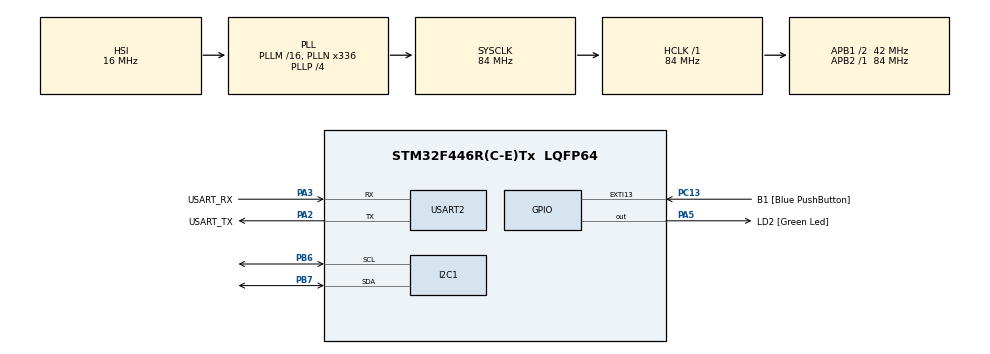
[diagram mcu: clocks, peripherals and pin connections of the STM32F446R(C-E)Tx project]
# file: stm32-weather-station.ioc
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Dma.I2C1_RX.0.Direction=DMA_PERIPH_TO_MEMORY
Dma.I2C1_RX.0.FIFOMode=DMA_FIFOMODE_DISABLE
Dma.I2C1_RX.0.Instance=DMA1_Stream0
Dma.I2C1_RX.0.MemDataAlignment=DMA_MDATAALIGN_BYTE
Dma.I2C1_RX.0.MemInc=DMA_MINC_ENABLE
Dma.I2C1_RX.0.Mode=DMA_NORMAL
Dma.I2C1_RX.0.PeriphDataAlignment=DMA_PDATAALIGN_BYTE
Dma.I2C1_RX.0.PeriphInc=DMA_PINC_DISABLE
Dma.I2C1_RX.0.Priority=DMA_PRIORITY_MEDIUM
Dma.I2C1_TX.1.Direction=DMA_MEMORY_TO_PERIPH
Dma.I2C1_TX.1.FIFOMode=DMA_FIFOMODE_DISABLE
Dma.I2C1_TX.1.Instance=DMA1_Stream6
Dma.I2C1_TX.1.MemDataAlignment=DMA_MDATAALIGN_BYTE
Dma.I2C1_TX.1.MemInc=DMA_MINC_ENABLE
Dma.I2C1_TX.1.Mode=DMA_NORMAL
Dma.I2C1_TX.1.PeriphDataAlignment=DMA_PDATAALIGN_BYTE
Dma.I2C1_TX.1.PeriphInc=DMA_PINC_DISABLE
Dma.I2C1_TX.1.Priority=DMA_PRIORITY_MEDIUM
Dma.Request0=I2C1_RX
Dma.Request1=I2C1_TX
I2C1.I2C_Mode=I2C_Fast
Mcu.Family=STM32F4
Mcu.Name=STM32F446R(C-E)Tx
Mcu.Package=LQFP64
NVIC.DMA1_Stream0_IRQn=true\:0\:0\:false\:false\:true\:false\:true\:true
NVIC.DMA1_Stream6_IRQn=true\:0\:0\:false\:false\:true\:false\:true\:true
NVIC.I2C1_ER_IRQn=true\:0\:0\:false\:false\:true\:true\:true\:true
NVIC.I2C1_EV_IRQn=true\:0\:0\:false\:false\:true\:true\:true\:true
NVIC.PriorityGroup=NVIC_PRIORITYGROUP_0
NVIC.TIM3_IRQn=true\:0\:0\:false\:false\:true\:true\:true\:true
NVIC.USART2_IRQn=true\:0\:0\:false\:false\:true\:true\:true\:true
PA13.GPIO_Label=TMS
PA13.Mode=Serial_Wire
PA13.Signal=SYS_JTMS-SWDIO
PA14.GPIO_Label=TCK
PA14.Mode=Serial_Wire
PA14.Signal=SYS_JTCK-SWCLK
PA2.GPIO_Label=USART_TX
PA2.Mode=Asynchronous
PA2.Signal=USART2_TX
PA3.GPIO_Label=USART_RX
PA3.Mode=Asynchronous
PA3.Signal=USART2_RX
PA5.GPIO_Label=LD2 [Green Led]
PA5.Signal=GPIO_Output
PB3.GPIO_Label=SWO
PB3.Signal=SYS_JTDO-SWO
PB6.Mode=I2C
PB6.Signal=I2C1_SCL
PB7.Mode=I2C
PB7.Signal=I2C1_SDA
PC13.GPIO_Label=B1 [Blue PushButton]
PC13.GPIO_ModeDefaultEXTI=GPIO_MODE_IT_FALLING
PC13.Signal=GPXTI13
PC14-OSC32_IN.Mode=LSE-External-Oscillator
PC14-OSC32_IN.Signal=RCC_OSC32_IN
PC15-OSC32_OUT.Mode=LSE-External-Oscillator
PC15-OSC32_OUT.Signal=RCC_OSC32_OUT
PH0-OSC_IN.Mode=HSE-External-Oscillator
PH0-OSC_IN.Signal=RCC_OSC_IN
PH1-OSC_OUT.Mode=HSE-External-Oscillator
PH1-OSC_OUT.Signal=RCC_OSC_OUT
ProjectManager.HeapSize=0x200
ProjectManager.StackSize=0x400
ProjectManager.TargetToolchain=STM32CubeIDE
RCC.48MHZClocksFreq_Value=84000000
RCC.AHBFreq_Value=84000000
RCC.APB1CLKDivider=RCC_HCLK_DIV2
RCC.APB1Freq_Value=42000000
RCC.APB1TimFreq_Value=84000000
RCC.APB2Freq_Value=84000000
RCC.APB2TimFreq_Value=84000000
RCC.CortexFreq_Value=84000000
RCC.FLatency-AdvancedSettings=FLASH_LATENCY_2
RCC.HCLKFreq_Value=84000000
RCC.HSE_VALUE=8000000
RCC.HSI_VALUE=16000000
RCC.PLLN=336
RCC.PLLP=RCC_PLLP_DIV4
RCC.SYSCLKFreq_VALUE=84000000
RCC.SYSCLKSource=RCC_SYSCLKSOURCE_PLLCLK
RCC.USBFreq_Value=168000000
RCC.VCOOutputFreq_Value=336000000
TIM3.AutoReloadPreload=TIM_AUTORELOAD_PRELOAD_ENABLE
TIM3.Period=10000
TIM3.Prescaler=8399
USART2.VirtualMode=VM_ASYNC
VP_TIM3_VS_ClockSourceINT.Mode=Internal
board=NUCLEO-F446RE

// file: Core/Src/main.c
/* USER CODE BEGIN Header */
/**
  ******************************************************************************
  * @file           : main.c
  * @brief          : Main program body
  ******************************************************************************
  * @attention
  *
  * Copyright (c) 2026 STMicroelectronics.
  * All rights reserved.
  *
  * This software is licensed under terms that can be found in the LICENSE file
  * in the root directory of this software component.
  * If no LICENSE file comes with this software, it is provided AS-IS.
  *
  ******************************************************************************
  */

/* USER CODE END Header */
#include "main.h"
#include "dma.h"
#include "i2c.h"
#include "tim.h"
#include "usart.h"
#include "gpio.h"

/* USER CODE BEGIN Includes */
#include <stdio.h>
#include <string.h>
#include "bme280.h"

#include "ssd1306.h"
#include "ssd1306_fonts.h"
/* USER CODE END Includes */

/* USER CODE BEGIN PV */
volatile uint8_t measureFlag = 0;

volatile uint8_t uartReady = 1;
char komunikat[100];

/* USER CODE END PV */

void SystemClock_Config(void);

int main(void)
{

  /* MCU Configuration--------------------------------------------------------*/

  /* Reset of all peripherals, Initializes the Flash interface and the Systick. */
  HAL_Init();

  /* Configure the system clock */
  SystemClock_Config();

  /* Initialize all configured peripherals */
  MX_GPIO_Init();
  MX_DMA_Init();
  MX_USART2_UART_Init();
  MX_I2C1_Init();
  MX_TIM3_Init();
  /* USER CODE BEGIN 2 */
  HAL_TIM_Base_Start_IT(&htim3);

  BME280_Init(&hi2c1);
  HAL_Delay(100);
  BME280_ReadCalibration(&hi2c1);

  ssd1306_Init();
  ssd1306_Fill(Black);
  ssd1306_UpdateScreen();
  /* USER CODE END 2 */

  /* Infinite loop */
  /* USER CODE BEGIN WHILE */
  while (1)
  {
//	  BME280_DebugCalibration();

		if (measureFlag && uartReady)
		{
			measureFlag = 0;
		  if (HAL_I2C_IsDeviceReady(&hi2c1, BME280_ADDR, 1, 100) == HAL_OK)
		  {

			 int32_t rawTemp = BME280_ReadRawTemp(&hi2c1);
			 int32_t temp = BME280_CompensateTemperature(rawTemp);

			 int8_t temp_int = temp / 100;
			 int8_t temp_dec = temp % 100;

			 int32_t rawPressure = BME280_ReadRawPressure(&hi2c1);
			 int32_t pressure = BME280_CompensatePressure(rawPressure);

			 int32_t rawHumidity = BME280_ReadRawHumidity(&hi2c1);
			 int32_t humidity = BME280_CompensateHumidity(rawHumidity);

			 int32_t hum_int = humidity / 1024;
			 int32_t hum_dec = (humidity % 1024) * 100 /1024;

			 ssd1306_Fill(Black);

			 ssd1306_SetCursor(0, 0);
			 char buf[20];
			 sprintf(buf, "Temp: %d.%02d C", temp_int, temp_dec);
			 ssd1306_SetCursor(0, 12);
			 ssd1306_WriteString(buf, Font_7x10, White);

			 sprintf(buf, "P: %ld hPa", pressure/100);
			 ssd1306_SetCursor(0, 24);
			 ssd1306_WriteString(buf, Font_7x10, White);

			 sprintf(buf, "H: %ld.%02ld %%", hum_int, hum_dec);
			 ssd1306_SetCursor(0, 36);
			 ssd1306_WriteString(buf, Font_7x10, White);

			 ssd1306_UpdateScreen();

			 sprintf(komunikat, "Temp: %d.%02d C | P: %ld hPa | H: %ld.%02ld %%\r\n",
					 temp_int, temp_dec,
					 pressure/100,
					 hum_int, hum_dec);

		  }
		  else
		  {
			  sprintf(komunikat, "Device NOT found\r\n");
		  }

		  HAL_UART_Transmit_IT(&huart2, (uint8_t*)komunikat, strlen(komunikat));
		  uartReady = 0;
		}
	  }

    /* USER CODE END WHILE */

}

void SystemClock_Config(void)
{
  RCC_OscInitTypeDef RCC_OscInitStruct = {0};
  RCC_ClkInitTypeDef RCC_ClkInitStruct = {0};

  /** Configure the main internal regulator output voltage
  */
  __HAL_RCC_PWR_CLK_ENABLE();
  __HAL_PWR_VOLTAGESCALING_CONFIG(PWR_REGULATOR_VOLTAGE_SCALE3);

  /** Initializes the RCC Oscillators according to the specified parameters
  * in the RCC_OscInitTypeDef structure.
  */
  RCC_OscInitStruct.OscillatorType = RCC_OSCILLATORTYPE_HSI;
  RCC_OscInitStruct.HSIState = RCC_HSI_ON;
  RCC_OscInitStruct.HSICalibrationValue = RCC_HSICALIBRATION_DEFAULT;
  RCC_OscInitStruct.PLL.PLLState = RCC_PLL_ON;
  RCC_OscInitStruct.PLL.PLLSource = RCC_PLLSOURCE_HSI;
  RCC_OscInitStruct.PLL.PLLM = 16;
  RCC_OscInitStruct.PLL.PLLN = 336;
  RCC_OscInitStruct.PLL.PLLP = RCC_PLLP_DIV4;
  RCC_OscInitStruct.PLL.PLLQ = 2;
  RCC_OscInitStruct.PLL.PLLR = 2;
  if (HAL_RCC_OscConfig(&RCC_OscInitStruct) != HAL_OK)
  {
    Error_Handler();
  }

  /** Initializes the CPU, AHB and APB buses clocks
  */
  RCC_ClkInitStruct.ClockType = RCC_CLOCKTYPE_HCLK|RCC_CLOCKTYPE_SYSCLK
                              |RCC_CLOCKTYPE_PCLK1|RCC_CLOCKTYPE_PCLK2;
  RCC_ClkInitStruct.SYSCLKSource = RCC_SYSCLKSOURCE_PLLCLK;
  RCC_ClkInitStruct.AHBCLKDivider = RCC_SYSCLK_DIV1;
  RCC_ClkInitStruct.APB1CLKDivider = RCC_HCLK_DIV2;
  RCC_ClkInitStruct.APB2CLKDivider = RCC_HCLK_DIV1;

  if (HAL_RCC_ClockConfig(&RCC_ClkInitStruct, FLASH_LATENCY_2) != HAL_OK)
  {
    Error_Handler();
  }
}

/* USER CODE BEGIN 4 */
void HAL_UART_TxCpltCallback(UART_HandleTypeDef *huart)
{
	if (huart->Instance == USART2)
	{
		uartReady = 1;
	}
}

void HAL_TIM_PeriodElapsedCallback(TIM_HandleTypeDef *htim)
{
    if (htim->Instance == TIM3)
    {
        measureFlag = 1;
    }
}
/* USER CODE END 4 */

void Error_Handler(void)
{
  __disable_irq();
  while (1)
  {
  }
}
